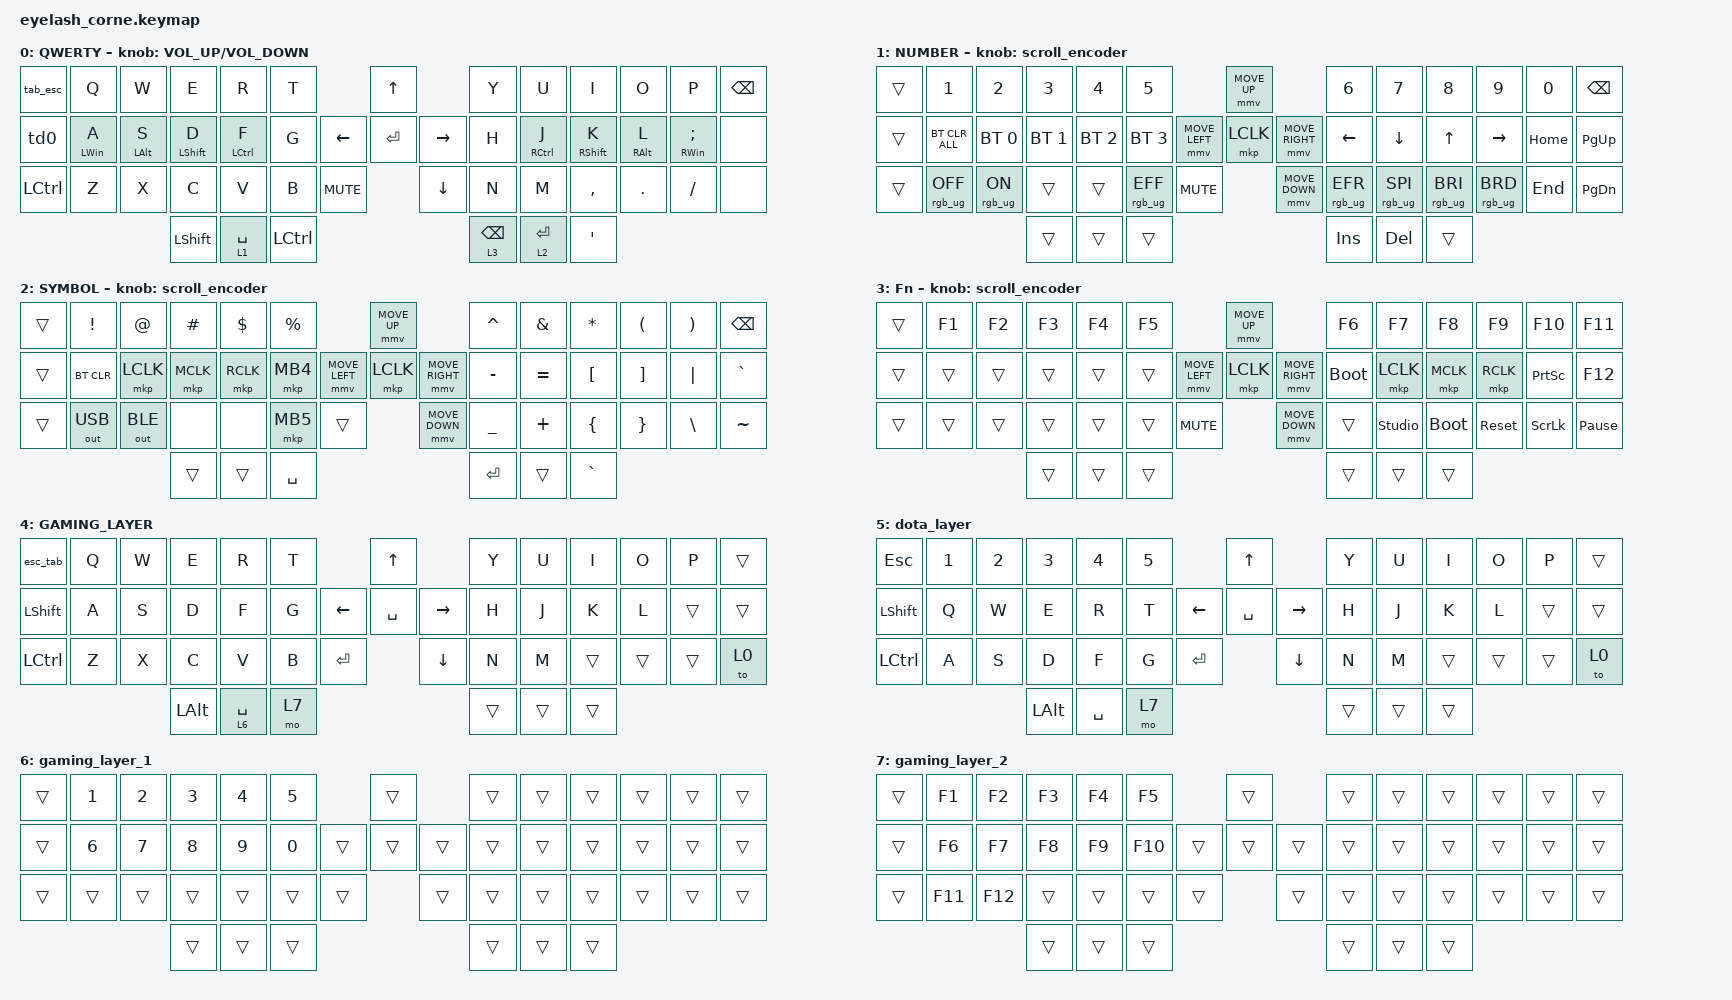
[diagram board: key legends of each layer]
#define ZMK_POINTING_DEFAULT_MOVE_VAL 1200  // 600
#define ZMK_POINTING_DEFAULT_SCRL_VAL 25   // 10

#include <input/processors.dtsi>
#include <zephyr/dt-bindings/input/input-event-codes.h>
#include <behaviors.dtsi>
#include <dt-bindings/zmk/bt.h>
#include <dt-bindings/zmk/keys.h>
#include <dt-bindings/zmk/outputs.h>
#include <dt-bindings/zmk/pointing.h>
#include <dt-bindings/zmk/rgb.h>

&mmv_input_listener { input-processors = <&zip_xy_scaler 2 1>; };

&msc_input_listener { input-processors = <&zip_scroll_scaler 2 1>; };

&msc {
    acceleration-exponent = <1>;      // 0
    time-to-max-speed-ms = <100>;       // 300
    delay-ms = <0>;                   // 0
};

&mmv {
    time-to-max-speed-ms = <500>;
    acceleration-exponent = <1>;
    trigger-period-ms = <16>;
};

&soft_off { hold-time-ms = <2000>; };

/ {
    behaviors {
        td0: td0 {
            compatible = "zmk,behavior-tap-dance";
            display-name = "Shift/Caps Lock Tap Dance";
            #binding-cells = <0>;
            bindings = <&kp LEFT_SHIFT>, <&kp CAPS>;
        };

        hml: hml {
            compatible = "zmk,behavior-hold-tap";
            label = "HML";
            bindings = <&kp>, <&kp>;

            #binding-cells = <2>;
            tapping-term-ms = <280>;
            quick-tap-ms = <175>;
            flavor = "balanced";
            hold-trigger-key-positions = <45 46 47>;
            hold-trigger-on-release;
            require-prior-idle-ms = <150>;
        };

        hmr: hmr {
            compatible = "zmk,behavior-hold-tap";
            label = "HMR";
            bindings = <&kp>, <&kp>;

            #binding-cells = <2>;
            tapping-term-ms = <280>;
            quick-tap-ms = <175>;
            flavor = "balanced";
            hold-trigger-key-positions = <42 43 44>;
            hold-trigger-on-release;
            require-prior-idle-ms = <150>;
        };

        tab_esc: tab_esc {
            compatible = "zmk,behavior-tap-dance";
            label = "TAB_ESC";
            #binding-cells = <0>;
            bindings = <&kp TAB>, <&kp ESCAPE>;
        };

        esc_tab: esc_tab {
            compatible = "zmk,behavior-tap-dance";
            label = "ESC_TAB";
            #binding-cells = <0>;
            bindings = <&kp ESCAPE>, <&kp TAB>;
        };
    };

    rgb_encoder: rgb_encoder {
        compatible = "zmk,behavior-sensor-rotate";
        #sensor-binding-cells = <0>;
        bindings = <&rgb_ug RGB_BRI>, <&rgb_ug RGB_BRD>;
    };

    scroll_encoder: scroll_encoder {
        compatible = "zmk,behavior-sensor-rotate";
        #sensor-binding-cells = <0>;
        bindings = <&msc SCRL_DOWN>, <&msc SCRL_UP>;

        tap-ms = <100>;
    };

    combos {
        compatible = "zmk,combos";

        left_parenthesis {
            bindings = <&kp LEFT_PARENTHESIS>;
            key-positions = <3 4>;
            layers = <0>;
            timeout-ms = <25>;
        };

        left_bracket {
            bindings = <&kp LEFT_BRACKET>;
            key-positions = <16 17>;
            layers = <0>;
            timeout-ms = <25>;
        };

        left_brace {
            bindings = <&kp LEFT_BRACE>;
            key-positions = <31 32>;
            layers = <0>;
            timeout-ms = <25>;
        };

        right_parenthesis {
            bindings = <&kp RIGHT_PARENTHESIS>;
            key-positions = <8 9>;
            layers = <0>;
            timeout-ms = <25>;
        };

        right_bracket {
            bindings = <&kp RIGHT_BRACKET>;
            key-positions = <23 24>;
            layers = <0>;
            timeout-ms = <25>;
        };

        right_brace {
            bindings = <&kp RIGHT_BRACE>;
            key-positions = <37 38>;
            layers = <0>;
            timeout-ms = <25>;
        };

        exclamation {
            bindings = <&kp EXCLAMATION>;
            key-positions = <2 3>;
            layers = <0>;
            timeout-ms = <25>;
        };

        equal {
            bindings = <&kp EQUAL>;
            key-positions = <9 10>;
            layers = <0>;
            timeout-ms = <25>;
        };

        asterisk {
            bindings = <&kp ASTERISK>;
            key-positions = <15 16>;
            layers = <0>;
            timeout-ms = <25>;
        };

        underscore {
            bindings = <&kp UNDERSCORE>;
            key-positions = <24 25>;
            layers = <0>;
            timeout-ms = <25>;
        };

        to_gaming_layer {
            bindings = <&to 4>;
            key-positions = <28 41>;
            layers = <0>;
        };

        dash {
            bindings = <&kp MINUS>;
            key-positions = <38 39>;
            timeout-ms = <25>;
            layers = <0>;
        };

        to_dota_layer {
            bindings = <&to 5>;
            key-positions = <28 27>;
        };
        
        softoff {
            bindings = <&soft_off>;
            key-positions = <1 15 29>;
        };
    };

    keymap {
        compatible = "zmk,keymap";

        default_layer {
            display-name = "QWERTY";
            bindings = <
&tab_esc   &kp Q            &kp W            &kp E              &kp R         &kp T                              &kp UP                &kp Y            &kp U         &kp I               &kp O             &kp P                &kp BACKSPACE
&td0       &hml LEFT_WIN A  &hml LEFT_ALT S  &hml LEFT_SHIFT D  &hml LCTRL F  &kp G                    &kp LEFT  &kp ENTER  &kp RIGHT  &kp H            &hmr RCTRL J  &hmr RIGHT_SHIFT K  &hmr RIGHT_ALT L  &hmr RIGHT_WIN SEMI  &none
&kp LCTRL  &kp Z            &kp X            &kp C              &kp V         &kp B      &kp C_MUTE              &kp DOWN              &kp N            &kp M         &kp COMMA           &kp DOT           &kp FSLH             &none
                                             &kp LEFT_SHIFT     &lt 1 SPACE   &kp LCTRL                                                &lt 3 BACKSPACE  &lt 2 ENTER   &kp SQT
            >;

             sensor-bindings = <&inc_dec_kp C_VOLUME_UP C_VOLUME_DOWN>;
        };

        lower_layer {
            display-name = "NUMBER";
            bindings = <
&trans  &kp N1           &kp N2          &kp N3        &kp N4        &kp N5                                         &mmv MOVE_UP                     &kp N6           &kp N7           &kp N8           &kp N9           &kp N0    &kp BSPC
&trans  &bt BT_CLR_ALL   &bt BT_SEL 0    &bt BT_SEL 1  &bt BT_SEL 2  &bt BT_SEL 3                   &mmv MOVE_LEFT  &mkp LCLK       &mmv MOVE_RIGHT  &kp LEFT         &kp DOWN         &kp UP           &kp RIGHT        &kp HOME  &kp PG_UP
&trans  &rgb_ug RGB_OFF  &rgb_ug RGB_ON  &trans        &trans        &rgb_ug RGB_EFF  &kp C_MUTE                    &mmv MOVE_DOWN                   &rgb_ug RGB_EFR  &rgb_ug RGB_SPI  &rgb_ug RGB_BRI  &rgb_ug RGB_BRD  &kp END   &kp PG_DN
                                         &trans        &trans        &trans                                                                          &kp INS          &kp DEL          &trans
            >;

            sensor-bindings = <&scroll_encoder>;
        };

        raise_layer {
            display-name = "SYMBOL";
            bindings = <
&trans  &kp EXCL      &kp AT        &kp HASH   &kp DLLR   &kp PRCNT                            &mmv MOVE_UP                     &kp CARET  &kp AMPS   &kp ASTRK  &kp LPAR  &kp RPAR       &kp BSPC
&trans  &bt BT_CLR    &mkp LCLK     &mkp MCLK  &mkp RCLK  &mkp MB4             &mmv MOVE_LEFT  &mkp LCLK       &mmv MOVE_RIGHT  &kp MINUS  &kp EQUAL  &kp LBKT   &kp RBKT  &kp PIPE       &kp GRAVE
&trans  &out OUT_USB  &out OUT_BLE  &none      &none      &mkp MB5   &trans                    &mmv MOVE_DOWN                   &kp UNDER  &kp PLUS   &kp LBRC   &kp RBRC  &kp BACKSLASH  &kp TILDE
                                    &trans     &trans     &kp SPACE                                                             &kp RET    &trans     &kp GRAVE
            >;

            sensor-bindings = <&scroll_encoder>;
        };

        layer_3 {
            display-name = "Fn";
            bindings = <
&trans  &kp F1  &kp F2  &kp F3  &kp F4  &kp F5                                &mmv MOVE_UP                     &kp F6       &kp F7          &kp F8       &kp F9      &kp F10          &kp F11
&trans  &trans  &trans  &trans  &trans  &trans                &mmv MOVE_LEFT  &mkp LCLK       &mmv MOVE_RIGHT  &bootloader  &mkp LCLK       &mkp MCLK    &mkp RCLK   &kp PRINTSCREEN  &kp F12
&trans  &trans  &trans  &trans  &trans  &trans  &kp C_MUTE                    &mmv MOVE_DOWN                   &trans       &studio_unlock  &bootloader  &sys_reset  &kp SCROLLLOCK   &kp PAUSE_BREAK
                        &trans  &trans  &trans                                                                 &trans       &trans          &trans
            >;

            sensor-bindings = <&scroll_encoder>;
        };

        GAMING_LAYER {
            bindings = <
&esc_tab        &kp Q  &kp W  &kp E         &kp R        &kp T                         &kp UP_ARROW             &kp Y   &kp U   &kp I   &kp O   &kp P   &trans
&kp LEFT_SHIFT  &kp A  &kp S  &kp D         &kp F        &kp G               &kp LEFT  &kp SPACE     &kp RIGHT  &kp H   &kp J   &kp K   &kp L   &trans  &trans
&kp LCTRL       &kp Z  &kp X  &kp C         &kp V        &kp B  &kp ENTER              &kp DOWN                 &kp N   &kp M   &trans  &trans  &trans  &to 0
                              &kp LEFT_ALT  &lt 6 SPACE  &mo 7                                                  &trans  &trans  &trans
            >;
        };

        dota_layer {
            bindings = <
&kp ESCAPE  &kp NUMBER_1  &kp NUMBER_2  &kp NUMBER_3  &kp NUMBER_4  &kp N5                               &kp UP_ARROW             &kp Y   &kp U   &kp I   &kp O   &kp P   &trans
&kp LSHFT   &kp Q         &kp W         &kp E         &kp R         &kp T                &kp LEFT_ARROW  &kp SPACE     &kp RIGHT  &kp H   &kp J   &kp K   &kp L   &trans  &trans
&kp LCTRL   &kp A         &kp S         &kp D         &kp F         &kp G   &kp ENTER                    &kp DOWN                 &kp N   &kp M   &trans  &trans  &trans  &to 0
                                        &kp LEFT_ALT  &kp SPACE     &mo 7                                                         &trans  &trans  &trans
            >;
        };

        gaming_layer_1 {
            bindings = <
&trans  &kp NUMBER_1  &kp NUMBER_2  &kp NUMBER_3  &kp NUMBER_4  &kp N5                    &trans          &trans  &trans  &trans  &trans  &trans  &trans
&trans  &kp NUMBER_6  &kp N7        &kp N8        &kp N9        &kp N0            &trans  &trans  &trans  &trans  &trans  &trans  &trans  &trans  &trans
&trans  &trans        &trans        &trans        &trans        &trans  &trans            &trans          &trans  &trans  &trans  &trans  &trans  &trans
                                    &trans        &trans        &trans                                    &trans  &trans  &trans
            >;
        };

        gaming_layer_2 {
            bindings = <
&trans  &kp F1   &kp F2   &kp F3  &kp F4  &kp F5                     &trans          &trans  &trans  &trans  &trans  &trans  &trans
&trans  &kp F6   &kp F7   &kp F8  &kp F9  &kp F10            &trans  &trans  &trans  &trans  &trans  &trans  &trans  &trans  &trans
&trans  &kp F11  &kp F12  &trans  &trans  &trans   &trans            &trans          &trans  &trans  &trans  &trans  &trans  &trans
                          &trans  &trans  &trans                                     &trans  &trans  &trans
            >;
        };
    };
};
